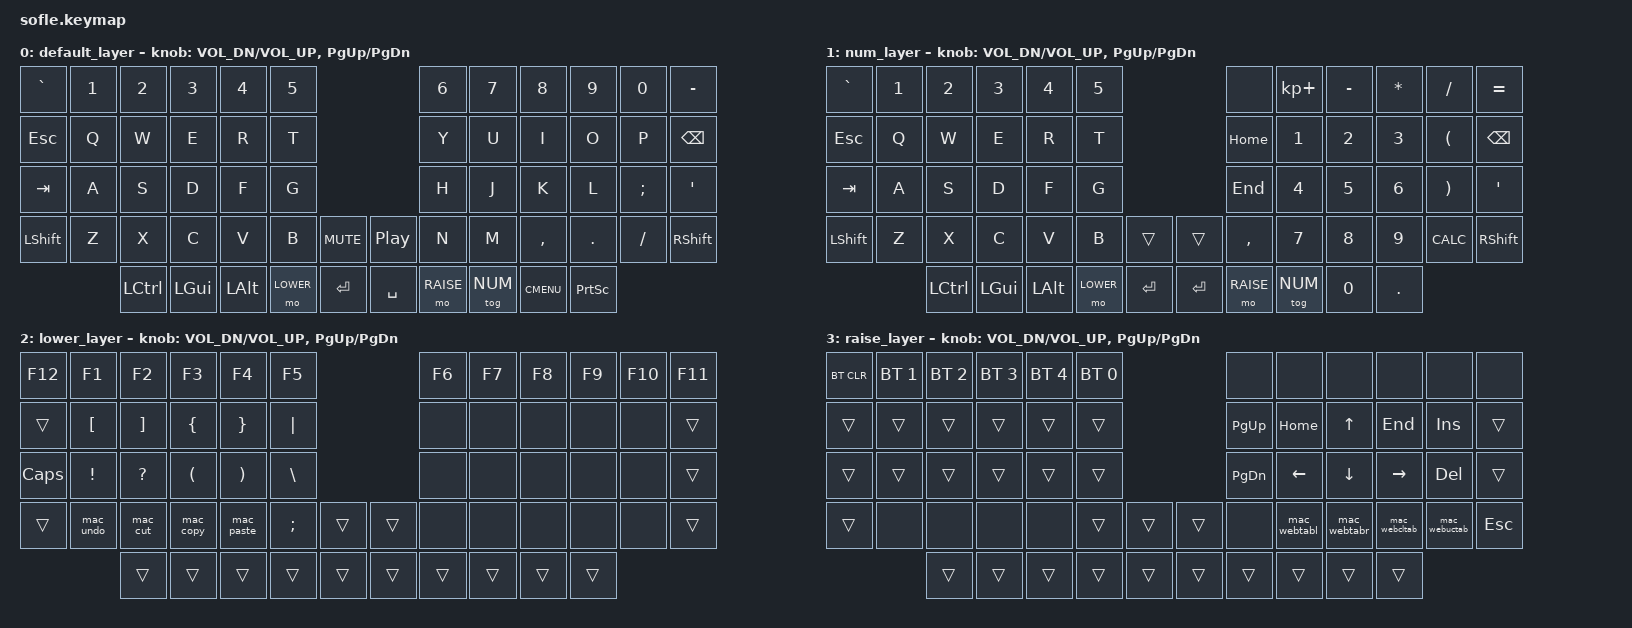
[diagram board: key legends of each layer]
/*
 * Copyright (c) 2020 The ZMK Contributors
 *
 * SPDX-License-Identifier: MIT
 */

#include <behaviors.dtsi>
#include <dt-bindings/zmk/keys.h>
#include <dt-bindings/zmk/bt.h>

&left_encoder { resolution = <1>; };
&right_encoder { resolution = <1>; };
/* &right_encoder { status = "enabled"; }; - to be tested */

#define DEFAULT 0
#define NUM     1
#define LOWER   2
#define RAISE   3

/ {
    macros {
        mac_undo: mac_undo {
            label = "ZM_mac_undo";
            compatible = "zmk,behavior-macro";
            #binding-cells = <0>;
            bindings
                = <&macro_press &kp LCTRL>
                , <&macro_tap &kp Z>
                , <&macro_release &kp LCTRL>
                ;
        };

        mac_cut: mac_cut {
            label = "ZM_mac_cut";
            compatible = "zmk,behavior-macro";
            #binding-cells = <0>;
            bindings
                = <&macro_press &kp LCTRL>
                , <&macro_tap &kp X>
                , <&macro_release &kp LCTRL>
                ;
        };

        mac_copy: mac_copy {
            label = "ZM_mac_copy";
            compatible = "zmk,behavior-macro";
            #binding-cells = <0>;
            bindings
                = <&macro_press &kp LCTRL>
                , <&macro_tap &kp C>
                , <&macro_release &kp LCTRL>
                ;
        };    

        mac_paste: mac_paste {
            label = "ZM_mac_paste";
            compatible = "zmk,behavior-macro";
            #binding-cells = <0>;
            bindings
                = <&macro_press &kp LCTRL>
                , <&macro_tap &kp V>
                , <&macro_release &kp LCTRL>
                ;
        };

        mac_webtabl: mac_webtabl {
            label = "ZM_mac_webtabl";
            compatible = "zmk,behavior-macro";
            #binding-cells = <0>;
            bindings
                = <&macro_press &kp LCTRL>
                , <&macro_tap &kp PG_UP>
                , <&macro_release &kp LCTRL>
                ;
        };     
 
        mac_webtabr: mac_webtabr {
            label = "ZM_mac_webtabr";
            compatible = "zmk,behavior-macro";
            #binding-cells = <0>;
            bindings
                = <&macro_press &kp LCTRL>
                , <&macro_tap &kp PG_DN>
                , <&macro_release &kp LCTRL>
                ;
        }; 

        mac_webcltab: mac_webcltab {
            label = "ZM_mac_webcltab";
            compatible = "zmk,behavior-macro";
            #binding-cells = <0>;
            bindings
                = <&macro_press &kp LCTRL>
                , <&macro_tap &kp F4>
                , <&macro_release &kp LCTRL>
                ;
        };  

        mac_webuctab: mac_webuctab {
            label = "ZM_mac_webuctab";
            compatible = "zmk,behavior-macro";
            #binding-cells = <0>;
            bindings
                = <&macro_press &kp LCTRL>
                , <&macro_press &kp LSHFT>
                , <&macro_tap &kp T>
                , <&macro_release &kp LSHFT>
                , <&macro_release &kp LCTRL>
                ;
        };    
    };
};


/ {
    keymap {
        compatible = "zmk,keymap";

        default_layer {
// ------------------------------------------------------------------------------------------------------------
// |  `    |  1  |  2  |  3   |  4   |  5   |                   |  6   |  7    |  8    |  9   |   0   |       |
// |  ESC  |  Q  |  W  |  E   |  R   |  T   |                   |  Y   |  U    |  I    |  O   |   P   | BKSPC |
// |  TAB  |  A  |  S  |  D   |  F   |  G   |                   |  H   |  J    |  K    |  L   |   ;   |   '   |
// | SHIFT |  Z  |  X  |  C   |  V   |  B   |  MUTE  |  |       |  N   |  M    |  ,    |  .   |   /   | SHIFT |
//               | GUI | ALT  | CTRL | LOWER|  ENTER |  | SPACE | RAISE| CTRL  | ALT   | GUI  |
            bindings = <
&kp GRAVE &kp N1 &kp N2   &kp N3   &kp N4    &kp N5                             &kp N6   &kp N7         &kp N8       &kp N9   &kp N0   &kp MINUS
&kp ESC   &kp Q  &kp W    &kp E    &kp R     &kp T                              &kp Y    &kp U          &kp I        &kp O    &kp P    &kp BSPC
&kp TAB   &kp A  &kp S    &kp D    &kp F     &kp G                              &kp H    &kp J          &kp K        &kp L    &kp SEMI &kp SQT
&kp LSHFT &kp Z  &kp X    &kp C    &kp V     &kp B  &kp C_MUTE       &kp C_PP   &kp N    &kp M          &kp COMMA    &kp DOT  &kp SLASH &kp RSHFT
                 &kp LCTRL &kp LGUI &kp LALT &mo LOWER  &kp ENTER    &kp SPACE  &mo RAISE &tog NUM      &kp K_CMENU  &kp PSCRN
            >;

            sensor-bindings = <&inc_dec_kp C_VOL_DN C_VOL_UP &inc_dec_kp PG_UP PG_DN>;
        };

        num_layer {
// ------------------------------------------------------------------------------------------------------------
// |BTCLR| BT1  | BT2  |  BT3  |  BT4  |  BT5 |                |      |      |       |      |       |       |
// |     | INS  | PSCR | GUI   |       |      |                | PGUP |      |   ^   |      |       |       |
// |     | ALT  | CTRL | SHIFT |       | CAPS |                | PGDN |   <- |   v   |  ->  |  DEL  | BKSPC |
// |     | UNDO | CUT  | COPY  | PASTE |      |      |  |      |      |      |       |      |       |       |
//              |      |       |       |      |      |  |      |      |      |       |      |
            bindings = <
&kp GRAVE &kp N1 &kp N2   &kp N3   &kp N4    &kp N5                             &none         &kp KP_PLUS   &kp MINUS  &kp STAR  &kp SLASH  &kp EQUAL
&kp ESC   &kp Q  &kp W    &kp E    &kp R     &kp T                              &kp HOME      &kp N1         &kp N2    &kp N3    &kp LPAR   &kp BSPC
&kp TAB   &kp A  &kp S    &kp D    &kp F     &kp G                              &kp END       &kp N4         &kp N5    &kp N6    &kp RPAR   &kp SQT
&kp LSHFT &kp Z  &kp X    &kp C    &kp V     &kp B  &trans           &trans     &kp COMMA     &kp N7         &kp N8    &kp N9    &kp K_CALC &kp RSHFT
                 &kp LCTRL &kp LGUI &kp LALT &mo LOWER  &kp ENTER    &kp ENTER &mo RAISE      &tog NUM       &kp N0    &kp DOT
            >;

            sensor-bindings = <&inc_dec_kp C_VOL_DN C_VOL_UP &inc_dec_kp PG_UP PG_DN>;
        };

        lower_layer {
// TODO: Some binds are waiting for shifted keycode support.
// ------------------------------------------------------------------------------------------------------------
// |       |  F1 |  F2 |  F3  |  F4  |  F5  |                   |  F6  |  F7   |  F8   |  F9  |  F10  |  F11  |
// | `     |   1 |   2 |   3  |   4  |   5  |                   |   6  |   7   |   8   |   9  |    0  |  F12  |
// |       |  !  |  @  |  #   |  $   |  %   |                   |  ^   |  &    |  *    |  (   |   )   |   |   |
// |       |  =  |  -  |  +   |  {   |  }   |        |  |       |  [   |  ]    |  ;    |  :   |   \   |       |
//               |     |      |      |      |        |  |       |      |       |       |      |
            bindings = <
&kp F12   &kp F1    &kp F2    &kp F3      &kp F4    &kp F5                    &kp F6    &kp F7   &kp F8       &kp F9   &kp F10   &kp F11
&trans    &kp LBKT  &kp RBKT  &kp LBRC    &kp RBRC  &kp PIPE                  &none     &none    &none        &none    &none     &trans
&kp CLCK  &kp EXCL  &kp QMARK &kp LPAR    &kp RPAR  &kp BSLH                  &none     &none    &none        &none    &none     &trans
&trans    &mac_undo &mac_cut  &mac_copy   &mac_paste &kp SEMI &trans   &trans &none     &none    &none        &none    &none     &trans
                    &trans    &trans      &trans    &trans    &trans   &trans &trans    &trans   &trans          &trans
            >;

            sensor-bindings = <&inc_dec_kp C_VOL_DN C_VOL_UP &inc_dec_kp PG_UP PG_DN>;
        };

        raise_layer {
// ------------------------------------------------------------------------------------------------------------
// |BTCLR| BT1  | BT2  |  BT3  |  BT4  |  BT5 |                |      |      |       |      |       |       |
// |     | INS  | PSCR | GUI   |       |      |                | PGUP |      |   ^   |      |       |       |
// |     | ALT  | CTRL | SHIFT |       | CAPS |                | PGDN |   <- |   v   |  ->  |  DEL  | BKSPC |
// |     | UNDO | CUT  | COPY  | PASTE |      |      |  |      |      |      |       |      |       |       |
//              |      |       |       |      |      |  |      |      |      |       |      |
            bindings = <
&bt BT_CLR &bt BT_SEL 1 &bt BT_SEL 2 &bt BT_SEL 3 &bt BT_SEL 4 &bt BT_SEL 0    &none     &none        &none      &none         &none          &none
&trans     &trans   &trans  &trans  &trans   &trans                            &kp PG_UP &kp HOME     &kp UP      &kp END       &kp INS        &trans
&trans     &trans   &trans  &trans  &trans   &trans                            &kp PG_DN &kp LEFT     &kp DOWN    &kp RIGHT      &kp DEL       &trans
&trans     &none   &none    &none   &none    &trans  &trans            &trans  &none      &mac_webtabl &mac_webtabr &mac_webcltab  &mac_webuctab &kp ESC
                        &trans       &trans  &trans  &trans  &trans   &trans    &trans    &trans    &trans    &trans
            >;

            sensor-bindings = <&inc_dec_kp C_VOL_DN C_VOL_UP &inc_dec_kp PG_UP PG_DN>;
        };
    };
};
